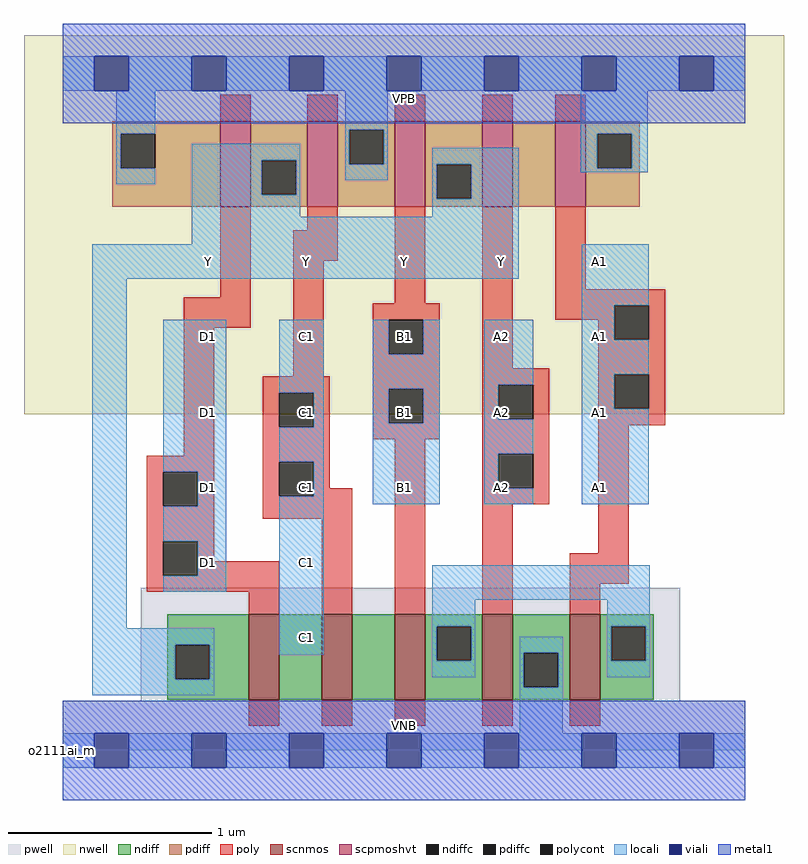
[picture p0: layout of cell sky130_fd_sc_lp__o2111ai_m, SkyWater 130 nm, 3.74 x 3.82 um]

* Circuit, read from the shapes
.subckt sky130_fd_sc_lp__o2111ai_m A1 A2 B1 C1 D1 VGND VNB VPB VPWR Y
XM1 n1 D1 Y VNB sky130_fd_pr__nfet_01v8 w=0.42 l=0.15
XM2 n2 C1 n1 VNB sky130_fd_pr__nfet_01v8 w=0.42 l=0.15
XM3 n3 B1 n2 VNB sky130_fd_pr__nfet_01v8 w=0.42 l=0.15
XM4 VGND A2 n3 VNB sky130_fd_pr__nfet_01v8 w=0.42 l=0.15
XM5 n3 A1 VGND VNB sky130_fd_pr__nfet_01v8 w=0.42 l=0.15
XM6 Y D1 VPWR VPB sky130_fd_pr__pfet_01v8_hvt w=0.42 l=0.15
XM7 VPWR C1 Y VPB sky130_fd_pr__pfet_01v8_hvt w=0.42 l=0.15
XM8 Y B1 VPWR VPB sky130_fd_pr__pfet_01v8_hvt w=0.42 l=0.15
XM9 n4 A2 Y VPB sky130_fd_pr__pfet_01v8_hvt w=0.42 l=0.15
XM10 VPWR A1 n4 VPB sky130_fd_pr__pfet_01v8_hvt w=0.42 l=0.15
.ends

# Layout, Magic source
magic
tech sky130A
magscale 1 2
<< nwell >>
rect -38 331 710 704
<< pwell >>
rect 77 49 608 160
rect 0 0 672 49
<< scnmos >>
rect 183 50 213 134
rect 255 50 285 134
rect 327 50 357 134
rect 413 50 443 134
rect 499 50 529 134
<< scpmoshvt >>
rect 155 535 185 619
rect 241 535 271 619
rect 327 535 357 619
rect 413 535 443 619
rect 485 535 515 619
<< ndiff >>
rect 103 104 183 134
rect 103 70 111 104
rect 145 70 183 104
rect 103 50 183 70
rect 213 50 255 134
rect 285 50 327 134
rect 357 122 413 134
rect 357 88 368 122
rect 402 88 413 122
rect 357 50 413 88
rect 443 96 499 134
rect 443 62 454 96
rect 488 62 499 96
rect 443 50 499 62
rect 529 122 582 134
rect 529 88 540 122
rect 574 88 582 122
rect 529 50 582 88
<< pdiff >>
rect 49 607 155 619
rect 49 573 57 607
rect 91 573 155 607
rect 49 535 155 573
rect 185 581 241 619
rect 185 547 196 581
rect 230 547 241 581
rect 185 535 241 547
rect 271 611 327 619
rect 271 577 282 611
rect 316 577 327 611
rect 271 535 327 577
rect 357 577 413 619
rect 357 543 368 577
rect 402 543 413 577
rect 357 535 413 543
rect 443 535 485 619
rect 515 607 568 619
rect 515 573 526 607
rect 560 573 568 607
rect 515 535 568 573
<< ndiffc >>
rect 111 70 145 104
rect 368 88 402 122
rect 454 62 488 96
rect 540 88 574 122
<< pdiffc >>
rect 57 573 91 607
rect 196 547 230 581
rect 282 577 316 611
rect 368 543 402 577
rect 526 573 560 607
<< poly >>
rect 155 619 185 645
rect 241 619 271 645
rect 327 619 357 645
rect 413 619 443 645
rect 485 619 515 645
rect 155 446 185 535
rect 241 512 271 535
rect 119 416 185 446
rect 227 482 271 512
rect 119 290 149 416
rect 227 368 257 482
rect 327 440 357 535
rect 305 424 371 440
rect 305 390 321 424
rect 355 390 371 424
rect 83 274 149 290
rect 83 240 99 274
rect 133 240 149 274
rect 83 206 149 240
rect 197 352 263 368
rect 197 318 213 352
rect 247 318 263 352
rect 197 284 263 318
rect 305 356 371 390
rect 305 322 321 356
rect 355 322 371 356
rect 305 306 371 322
rect 413 376 443 535
rect 485 454 515 535
rect 485 438 593 454
rect 485 424 543 438
rect 527 404 543 424
rect 577 404 593 438
rect 413 360 479 376
rect 413 326 429 360
rect 463 326 479 360
rect 197 250 213 284
rect 247 258 263 284
rect 247 250 285 258
rect 197 228 285 250
rect 83 172 99 206
rect 133 186 149 206
rect 133 172 213 186
rect 83 156 213 172
rect 183 134 213 156
rect 255 134 285 228
rect 327 134 357 306
rect 413 292 479 326
rect 413 258 429 292
rect 463 258 479 292
rect 413 242 479 258
rect 527 370 593 404
rect 527 336 543 370
rect 577 336 593 370
rect 527 320 593 336
rect 413 134 443 242
rect 527 194 557 320
rect 499 164 557 194
rect 499 134 529 164
rect 183 24 213 50
rect 255 24 285 50
rect 327 24 357 50
rect 413 24 443 50
rect 499 24 529 50
<< polycont >>
rect 321 390 355 424
rect 99 240 133 274
rect 213 318 247 352
rect 321 322 355 356
rect 543 404 577 438
rect 429 326 463 360
rect 213 250 247 284
rect 99 172 133 206
rect 429 258 463 292
rect 543 336 577 370
<< locali >>
rect 0 649 31 683
rect 65 649 127 683
rect 161 649 223 683
rect 257 649 319 683
rect 353 649 415 683
rect 449 649 511 683
rect 545 649 607 683
rect 641 649 672 683
rect 53 607 91 649
rect 53 573 57 607
rect 278 611 320 649
rect 53 557 91 573
rect 127 581 234 597
rect 127 547 196 581
rect 230 547 234 581
rect 278 577 282 611
rect 316 577 320 611
rect 510 607 576 649
rect 278 561 320 577
rect 364 577 449 593
rect 127 525 234 547
rect 364 543 368 577
rect 402 543 449 577
rect 510 573 526 607
rect 560 573 576 607
rect 510 569 576 573
rect 364 525 449 543
rect 127 498 449 525
rect 29 464 449 498
rect 29 120 63 464
rect 511 438 577 498
rect 99 274 161 424
rect 133 240 161 274
rect 99 206 161 240
rect 133 172 161 206
rect 99 156 161 172
rect 213 352 257 424
rect 247 318 257 352
rect 213 284 257 318
rect 247 250 257 284
rect 29 104 149 120
rect 29 70 111 104
rect 145 70 149 104
rect 213 94 257 250
rect 305 390 321 424
rect 355 390 371 424
rect 305 356 371 390
rect 305 322 321 356
rect 355 322 371 356
rect 305 242 371 322
rect 415 360 463 424
rect 415 326 429 360
rect 415 292 463 326
rect 415 258 429 292
rect 415 242 463 258
rect 511 404 543 438
rect 511 370 577 404
rect 511 336 543 370
rect 511 242 577 336
rect 364 148 578 182
rect 364 122 406 148
rect 364 88 368 122
rect 402 88 406 122
rect 536 122 578 148
rect 364 72 406 88
rect 450 96 492 112
rect 29 54 149 70
rect 450 62 454 96
rect 488 62 492 96
rect 536 88 540 122
rect 574 88 578 122
rect 536 72 578 88
rect 450 17 492 62
rect 0 -17 31 17
rect 65 -17 127 17
rect 161 -17 223 17
rect 257 -17 319 17
rect 353 -17 415 17
rect 449 -17 511 17
rect 545 -17 607 17
rect 641 -17 672 17
<< viali >>
rect 31 649 65 683
rect 127 649 161 683
rect 223 649 257 683
rect 319 649 353 683
rect 415 649 449 683
rect 511 649 545 683
rect 607 649 641 683
rect 31 -17 65 17
rect 127 -17 161 17
rect 223 -17 257 17
rect 319 -17 353 17
rect 415 -17 449 17
rect 511 -17 545 17
rect 607 -17 641 17
<< metal1 >>
rect 0 683 672 715
rect 0 649 31 683
rect 65 649 127 683
rect 161 649 223 683
rect 257 649 319 683
rect 353 649 415 683
rect 449 649 511 683
rect 545 649 607 683
rect 641 649 672 683
rect 0 617 672 649
rect 0 17 672 49
rect 0 -17 31 17
rect 65 -17 127 17
rect 161 -17 223 17
rect 257 -17 319 17
rect 353 -17 415 17
rect 449 -17 511 17
rect 545 -17 607 17
rect 641 -17 672 17
rect 0 -49 672 -17
<< labels >>
flabel pwell s 0 0 672 49 0 FreeSans 200 0 0 0 VNB
port 7 nsew ground bidirectional
flabel nwell s 0 617 672 666 0 FreeSans 200 0 0 0 VPB
port 8 nsew power bidirectional
rlabel comment s 0 0 0 0 4 o2111ai_m
flabel metal1 s 0 617 672 666 0 FreeSans 340 0 0 0 VPWR
port 9 nsew power bidirectional
flabel metal1 s 0 0 672 49 0 FreeSans 340 0 0 0 VGND
port 6 nsew ground bidirectional
flabel locali s 511 242 545 276 0 FreeSans 340 0 0 0 A1
port 1 nsew signal input
flabel locali s 511 316 545 350 0 FreeSans 340 0 0 0 A1
port 1 nsew signal input
flabel locali s 511 390 545 424 0 FreeSans 340 0 0 0 A1
port 1 nsew signal input
flabel locali s 511 464 545 498 0 FreeSans 340 0 0 0 A1
port 1 nsew signal input
flabel locali s 415 242 449 276 0 FreeSans 340 0 0 0 A2
port 2 nsew signal input
flabel locali s 415 316 449 350 0 FreeSans 340 0 0 0 A2
port 2 nsew signal input
flabel locali s 415 390 449 424 0 FreeSans 340 0 0 0 A2
port 2 nsew signal input
flabel locali s 127 464 161 498 0 FreeSans 340 0 0 0 Y
port 10 nsew signal output
flabel locali s 223 464 257 498 0 FreeSans 340 0 0 0 Y
port 10 nsew signal output
flabel locali s 319 464 353 498 0 FreeSans 340 0 0 0 Y
port 10 nsew signal output
flabel locali s 415 464 449 498 0 FreeSans 340 0 0 0 Y
port 10 nsew signal output
flabel locali s 319 242 353 276 0 FreeSans 340 0 0 0 B1
port 3 nsew signal input
flabel locali s 319 316 353 350 0 FreeSans 340 0 0 0 B1
port 3 nsew signal input
flabel locali s 319 390 353 424 0 FreeSans 340 0 0 0 B1
port 3 nsew signal input
flabel locali s 127 168 161 202 0 FreeSans 340 0 0 0 D1
port 5 nsew signal input
flabel locali s 127 242 161 276 0 FreeSans 340 0 0 0 D1
port 5 nsew signal input
flabel locali s 127 316 161 350 0 FreeSans 340 0 0 0 D1
port 5 nsew signal input
flabel locali s 127 390 161 424 0 FreeSans 340 0 0 0 D1
port 5 nsew signal input
flabel locali s 223 94 257 128 0 FreeSans 340 0 0 0 C1
port 4 nsew signal input
flabel locali s 223 168 257 202 0 FreeSans 340 0 0 0 C1
port 4 nsew signal input
flabel locali s 223 242 257 276 0 FreeSans 340 0 0 0 C1
port 4 nsew signal input
flabel locali s 223 316 257 350 0 FreeSans 340 0 0 0 C1
port 4 nsew signal input
flabel locali s 223 390 257 424 0 FreeSans 340 0 0 0 C1
port 4 nsew signal input
<< properties >>
string LEFsite unit
string LEFclass CORE
string FIXED_BBOX 0 0 672 666
string GDS_FILE $PDKPATH/libs.ref/sky130_fd_sc_lp/gds/sky130_fd_sc_lp.gds
string LEFsymmetry X Y R90
string GDS_END 4735716
string GDS_START 4727666
<< end >>
